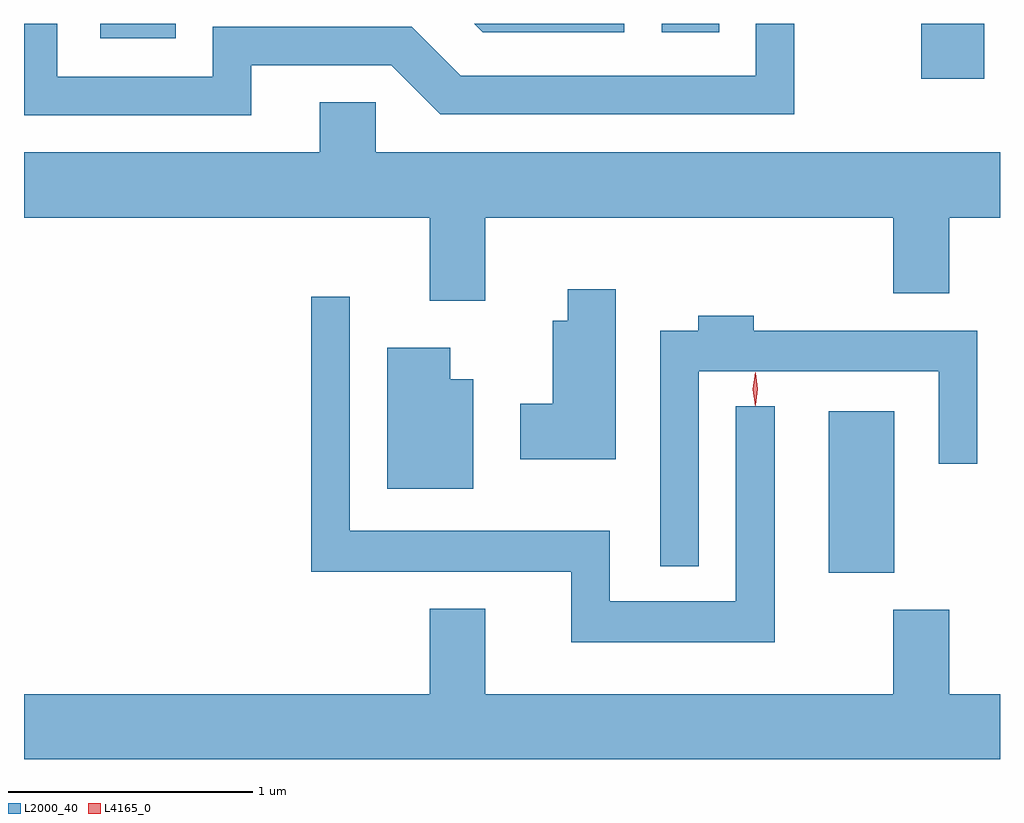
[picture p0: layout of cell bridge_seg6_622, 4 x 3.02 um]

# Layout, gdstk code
import gdstk
lib = gdstk.Library(unit=1e-6, precision=1e-09)
def R(c, l, rs):  # rectangles x0, y0, x1, y1
    for r in rs: c.add(gdstk.rectangle(r[:2], r[2:], *l))
def P(c, l, *ps):  # polygons
    for p in ps: c.add(gdstk.Polygon(p, *l))
L2000_40 = (2000, 40)
L4165_0 = (4165, 0)

bridge_seg6_622 = lib.new_cell('bridge_seg6_622')
R(bridge_seg6_622, L2000_40, [(310.346,1639.601,310.614,1640.264), (310.726,1641.626,310.984,1641.852), (307.361,1641.791,307.669,1641.852), (309.661,1641.816,309.898,1641.852)])
P(bridge_seg6_622, L2000_40, [(307.979,1641.681),(308.554,1641.681),(308.754,1641.481),(310.204,1641.481),(310.204,1641.852),(310.046,1641.852),(310.046,1641.639),(308.837,1641.639),(308.637,1641.839),(307.821,1641.839),(307.821,1641.634),(307.184,1641.634),(307.184,1641.852),(307.048,1641.852),(307.048,1641.476),(307.979,1641.476)],
  [(309.509,1641.852),(308.893,1641.852),(308.929,1641.816),(309.509,1641.816)],
  [(308.939,1641.056),(310.611,1641.056),(310.611,1640.746),(310.839,1640.746),(310.839,1641.056),(311.048,1641.056),(311.048,1641.324),(308.489,1641.324),(308.489,1641.529),(308.261,1641.529),(308.261,1641.324),(307.048,1641.324),(307.048,1641.056),(308.711,1641.056),(308.711,1640.716),(308.939,1640.716)],
  [(309.474,1640.764),(309.276,1640.764),(309.276,1640.634),(309.216,1640.634),(309.216,1640.294),(309.081,1640.294),(309.081,1640.066),(309.474,1640.066)],
  [(310.124,1640.283),(309.966,1640.283),(309.966,1639.484),(309.449,1639.484),(309.449,1639.774),(308.384,1639.774),(308.384,1640.733),(308.226,1640.733),(308.226,1639.606),(309.291,1639.606),(309.291,1639.316),(310.124,1639.316)],
  [(309.814,1640.426),(310.796,1640.426),(310.796,1640.048),(310.954,1640.048),(310.954,1640.594),(310.039,1640.594),(310.039,1640.654),(309.811,1640.654),(309.811,1640.594),(309.656,1640.594),(309.656,1639.628),(309.814,1639.628)],
  [(308.889,1640.394),(308.794,1640.394),(308.794,1640.524),(308.536,1640.524),(308.536,1639.946),(308.889,1639.946)],
  [(311.048,1639.104),(310.839,1639.104),(310.839,1639.449),(310.611,1639.449),(310.611,1639.104),(308.939,1639.104),(308.939,1639.454),(308.711,1639.454),(308.711,1639.104),(307.048,1639.104),(307.048,1638.836),(311.048,1638.836)])
P(bridge_seg6_622, L4165_0, [(310.044,1640.284),(310.044,1640.284),(310.034,1640.353),(310.044,1640.423),(310.044,1640.423),(310.045,1640.423),(310.054,1640.353),(310.045,1640.284)],
  [(310.046,1640.287),(310.045,1640.288),(310.036,1640.354),(310.045,1640.42),(310.046,1640.421),(310.046,1640.42),(310.056,1640.354),(310.046,1640.288)])

lib.write_gds('bridge_seg6_622.gds')
